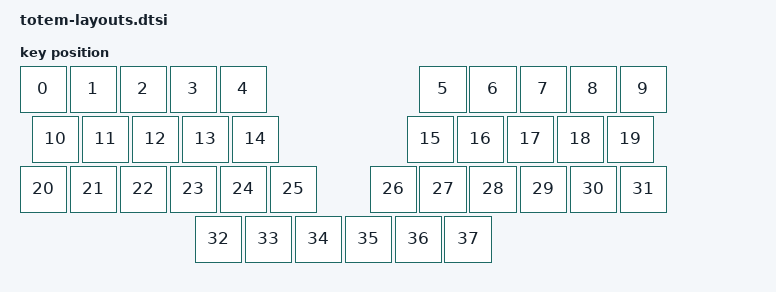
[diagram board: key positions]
#include <physical_layouts.dtsi>

/ {
    totem_layout: totem_layout {
        compatible = "zmk,physical-layout";
        display-name = "TOTEM";
        transform = <&default_transform>;

        keys
            = <&key_physical_attrs 100 100    0    0       0     0     0>
            , <&key_physical_attrs 100 100  100    0       0     0     0>
            , <&key_physical_attrs 100 100  200    0       0     0     0>
            , <&key_physical_attrs 100 100  300    0       0     0     0>
            , <&key_physical_attrs 100 100  400    0       0     0     0>
            , <&key_physical_attrs 100 100  800    0       0     0     0>
            , <&key_physical_attrs 100 100  900    0       0     0     0>
            , <&key_physical_attrs 100 100 1000    0       0     0     0>
            , <&key_physical_attrs 100 100 1100    0       0     0     0>
            , <&key_physical_attrs 100 100 1200    0       0     0     0>
            , <&key_physical_attrs 100 100   25  100       0     0     0>
            , <&key_physical_attrs 100 100  125  100       0     0     0>
            , <&key_physical_attrs 100 100  225  100       0     0     0>
            , <&key_physical_attrs 100 100  325  100       0     0     0>
            , <&key_physical_attrs 100 100  425  100       0     0     0>
            , <&key_physical_attrs 100 100  775  100       0     0     0>
            , <&key_physical_attrs 100 100  875  100       0     0     0>
            , <&key_physical_attrs 100 100  975  100       0     0     0>
            , <&key_physical_attrs 100 100 1075  100       0     0     0>
            , <&key_physical_attrs 100 100 1175  100       0     0     0>
            , <&key_physical_attrs 100 100    0  200       0     0     0>
            , <&key_physical_attrs 100 100  100  200       0     0     0>
            , <&key_physical_attrs 100 100  200  200       0     0     0>
            , <&key_physical_attrs 100 100  300  200       0     0     0>
            , <&key_physical_attrs 100 100  400  200       0     0     0>
            , <&key_physical_attrs 100 100  500  200       0     0     0>
            , <&key_physical_attrs 100 100  700  200       0     0     0>
            , <&key_physical_attrs 100 100  800  200       0     0     0>
            , <&key_physical_attrs 100 100  900  200       0     0     0>
            , <&key_physical_attrs 100 100 1000  200       0     0     0>
            , <&key_physical_attrs 100 100 1100  200       0     0     0>
            , <&key_physical_attrs 100 100 1200  200       0     0     0>
            , <&key_physical_attrs 100 100  350  300       0     0     0>
            , <&key_physical_attrs 100 100  450  300       0     0     0>
            , <&key_physical_attrs 100 100  550  300       0     0     0>
            , <&key_physical_attrs 100 100  650  300       0     0     0>
            , <&key_physical_attrs 100 100  750  300       0     0     0>
            , <&key_physical_attrs 100 100  850  300       0     0     0>
            ;
    };
};
